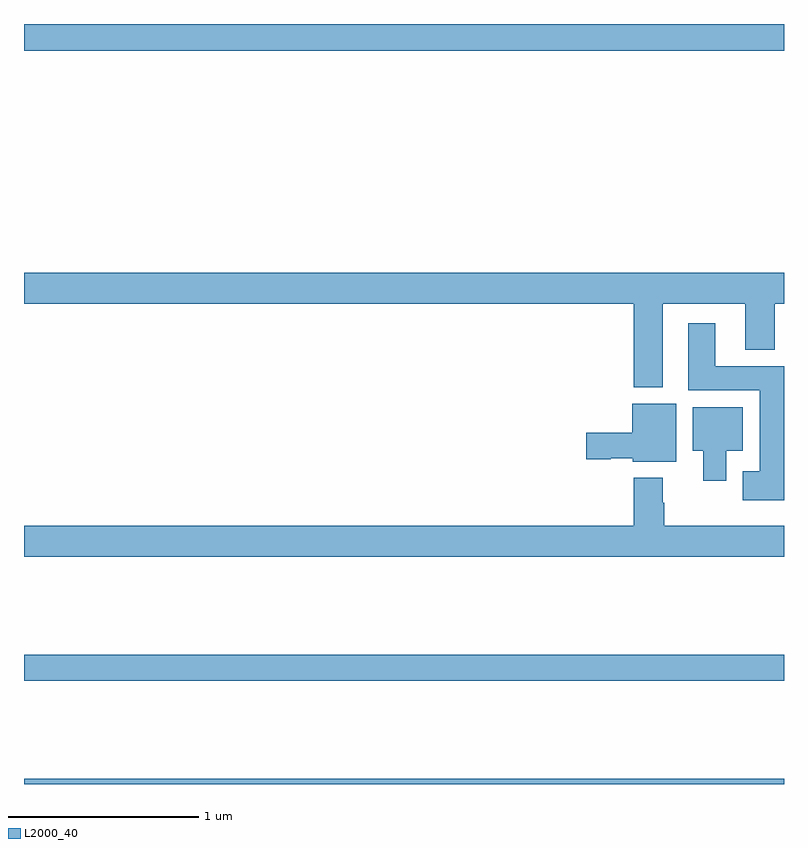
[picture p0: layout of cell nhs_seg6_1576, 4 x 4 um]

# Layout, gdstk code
import gdstk
lib = gdstk.Library(unit=1e-6, precision=1e-09)
def R(c, l, rs):  # rectangles x0, y0, x1, y1
    for r in rs: c.add(gdstk.rectangle(r[:2], r[2:], *l))
def P(c, l, *ps):  # polygons
    for p in ps: c.add(gdstk.Polygon(p, *l))
L2000_40 = (2000, 40)

nhs_seg6_1576 = lib.new_cell('nhs_seg6_1576')
R(nhs_seg6_1576, L2000_40, [(207,919.5,211,919.528), (207,920.044,211,920.18), (207,923.36,211,923.5)])
P(nhs_seg6_1576, L2000_40, [(210.361,922.028),(210.797,922.028),(210.797,921.785),(210.95,921.785),(210.95,922.028),(211,922.028),(211,922.192),(207,922.192),(207,922.028),(210.209,922.028),(210.209,921.587),(210.361,921.587)],
  [(211,921.7),(210.637,921.7),(210.637,921.925),(210.497,921.925),(210.497,921.572),(210.872,921.572),(210.872,921.145),(210.782,921.145),(210.782,920.993),(211,920.993)],
  [(210.433,921.502),(210.2,921.502),(210.2,921.35),(209.958,921.35),(209.958,921.208),(210.087,921.208),(210.087,921.215),(210.204,921.215),(210.204,921.197),(210.433,921.197)],
  [(210.697,921.254),(210.784,921.254),(210.784,921.484),(210.521,921.484),(210.521,921.254),(210.575,921.254),(210.575,921.096),(210.697,921.096)],
  [(211,920.86),(210.369,920.86),(210.369,920.981),(210.361,920.981),(210.361,921.112),(210.209,921.112),(210.209,920.86),(207,920.86),(207,920.696),(211,920.696)])

lib.write_gds('nhs_seg6_1576.gds')
